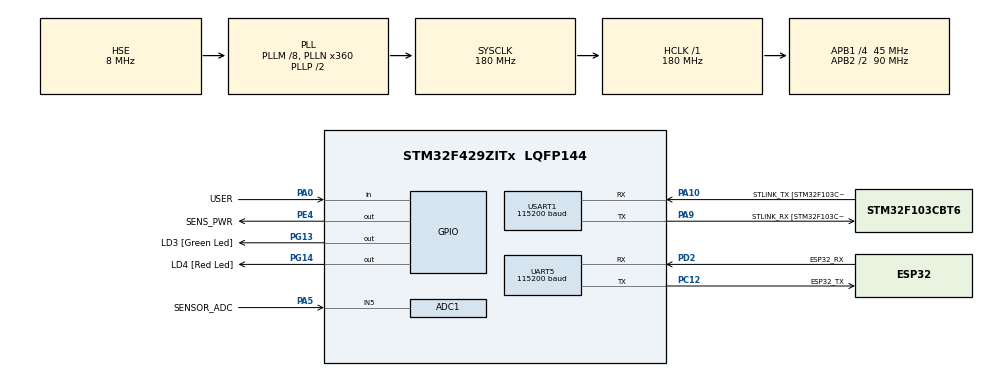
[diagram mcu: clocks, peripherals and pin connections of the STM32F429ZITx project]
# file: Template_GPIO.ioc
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ADC1.Channel-0\#ChannelRegularConversion=ADC_CHANNEL_5
ADC1.ClockPrescaler=ADC_CLOCK_SYNC_PCLK_DIV4
ADC1.NbrOfConversionFlag=1
ADC1.Rank-0\#ChannelRegularConversion=1
ADC1.SamplingTime-0\#ChannelRegularConversion=ADC_SAMPLETIME_84CYCLES
ADC1.master=1
Mcu.Family=STM32F4
Mcu.Name=STM32F429ZITx
Mcu.Package=LQFP144
NVIC.PriorityGroup=NVIC_PRIORITYGROUP_4
NVIC.UART5_IRQn=true\:5\:0\:false\:false\:true\:true\:true\:true
NVIC.USART1_IRQn=true\:5\:0\:false\:false\:true\:true\:true\:true
PA0/WKUP.GPIO_Label=USER
PA0/WKUP.Signal=GPIO_Input
PA10.GPIO_Label=STLINK_TX [STM32F103CBT6_PA2]
PA10.Mode=Asynchronous
PA10.Signal=USART1_RX
PA10.GPIO_PuPd=GPIO_PULLUP
PA13.GPIO_Label=SWDIO
PA13.Mode=Serial_Wire
PA13.Signal=SYS_JTMS-SWDIO
PA14.GPIO_Label=SWCLK
PA14.Mode=Serial_Wire
PA14.Signal=SYS_JTCK-SWCLK
PA5.GPIO_Label=SENSOR_ADC
PA5.Signal=ADCx_IN5
PA9.GPIO_Label=STLINK_RX [STM32F103CBT6_PA3]
PA9.Mode=Asynchronous
PA9.Signal=USART1_TX
PA9.GPIO_PuPd=GPIO_PULLUP
PC12.GPIO_Label=ESP32_TX
PC12.GPIO_PuPd=GPIO_PULLUP
PC12.Mode=Asynchronous
PC12.Signal=UART5_TX
PD2.GPIO_Label=ESP32_RX
PD2.GPIO_PuPd=GPIO_PULLUP
PD2.Mode=Asynchronous
PD2.Signal=UART5_RX
PE4.GPIO_Label=SENS_PWR
PE4.Signal=GPIO_Output
PG13.GPIO_Label=LD3 [Green Led]
PG13.Signal=GPIO_Output
PG14.GPIO_Label=LD4 [Red Led]
PG14.GPIO_Mode=GPIO_MODE_OUTPUT_PP
PG14.GPIO_PuPd=GPIO_NOPULL
PG14.GPIO_Speed=GPIO_SPEED_FREQ_LOW
PG14.Signal=GPIO_Output
PH0/OSC_IN.GPIO_Label=PH0-OSC_IN
PH0/OSC_IN.Mode=HSE-External-Oscillator
PH0/OSC_IN.Signal=RCC_OSC_IN
PH1/OSC_OUT.GPIO_Label=PH1-OSC_OUT
PH1/OSC_OUT.Mode=HSE-External-Oscillator
PH1/OSC_OUT.Signal=RCC_OSC_OUT
ProjectManager.HeapSize=0x200
ProjectManager.StackSize=0x1000
ProjectManager.TargetToolchain=MDK-ARM V5.32
RCC.48MHZClocksFreq_Value=51428571.428571429
RCC.AHBFreq_Value=180000000
RCC.APB1CLKDivider=RCC_HCLK_DIV4
RCC.APB1Freq_Value=45000000
RCC.APB1TimFreq_Value=90000000
RCC.APB2CLKDivider=RCC_HCLK_DIV2
RCC.APB2Freq_Value=90000000
RCC.APB2TimFreq_Value=180000000
RCC.CortexFreq_Value=180000000
RCC.HCLKFreq_Value=180000000
RCC.HSE_VALUE=8000000
RCC.HSI_VALUE=16000000
RCC.LSE_VALUE=32768
RCC.PLLM=8
RCC.PLLN=360
RCC.PLLP=RCC_PLLP_DIV2
RCC.PLLQ=7
RCC.PLLSourceVirtual=RCC_PLLSOURCE_HSE
RCC.SYSCLKFreq_VALUE=180000000
RCC.SYSCLKSource=RCC_SYSCLKSOURCE_PLLCLK
RCC.VCOOutputFreq_Value=360000000
SH.ADCx_IN5.0=ADC1_IN5,IN5
UART5.BaudRate=115200
UART5.VirtualMode=VM_ASYNC
USART1.BaudRate=115200
USART1.VirtualMode=VM_ASYNC
board=STM32F429I-DISC1

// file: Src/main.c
/* USER CODE BEGIN Header */
/**
  ******************************************************************************
  * @file           : main.c
  * @brief          : Main program body
  ******************************************************************************
  * Smart Bottle pe șablonul de laborator Template_GPIO (STM32F429I-DISC1).
  *
  * Generat de CubeMX din Template_GPIO.ioc: ceas 180 MHz, GPIO, USART1, ADC1, UART5.
  * Codul nostru stă doar între marcajele USER CODE: mesajul de pornire, app_init() o dată și
  * app_loop() la nesfârșit (app.c). La o regenerare din CubeMX rămâne neschimbat.
  ******************************************************************************
  */
/* USER CODE END Header */
#include "main.h"

/* USER CODE BEGIN Includes */
#include "app.h"
#include <stdarg.h>
#include <stdio.h>
/* USER CODE END Includes */

ADC_HandleTypeDef hadc1;

UART_HandleTypeDef huart5;
UART_HandleTypeDef huart1;

void SystemClock_Config(void);
static void MX_GPIO_Init(void);
static void MX_USART1_UART_Init(void);
static void MX_ADC1_Init(void);
static void MX_UART5_Init(void);

int main(void)
{

  /* MCU Configuration--------------------------------------------------------*/

  /* Reset of all peripherals, Initializes the Flash interface and the Systick. */
  HAL_Init();

  /* Configure the system clock */
  SystemClock_Config();

  /* Initialize all configured peripherals */
  MX_GPIO_Init();
  MX_USART1_UART_Init();
  MX_ADC1_Init();
  MX_UART5_Init();
  /* USER CODE BEGIN 2 */
  dbg_log("\r\n[boot] Smart Bottle (Template_GPIO), %lu MHz\r\n", (unsigned long)(SystemCoreClock / 1000000U));
  app_init();
  /* USER CODE END 2 */

  /* Infinite loop */
  while (1)
  {

    /* USER CODE BEGIN 3 */
    app_loop();
  }
  /* USER CODE END 3 */
}

void SystemClock_Config(void)
{
  RCC_OscInitTypeDef RCC_OscInitStruct = {0};
  RCC_ClkInitTypeDef RCC_ClkInitStruct = {0};

  /** Configure the main internal regulator output voltage
  */
  __HAL_RCC_PWR_CLK_ENABLE();
  __HAL_PWR_VOLTAGESCALING_CONFIG(PWR_REGULATOR_VOLTAGE_SCALE1);

  /** Initializes the RCC Oscillators according to the specified parameters
  * in the RCC_OscInitTypeDef structure.
  */
  RCC_OscInitStruct.OscillatorType = RCC_OSCILLATORTYPE_HSE;
  RCC_OscInitStruct.HSEState = RCC_HSE_ON;
  RCC_OscInitStruct.PLL.PLLState = RCC_PLL_ON;
  RCC_OscInitStruct.PLL.PLLSource = RCC_PLLSOURCE_HSE;
  RCC_OscInitStruct.PLL.PLLM = 8;
  RCC_OscInitStruct.PLL.PLLN = 360;
  RCC_OscInitStruct.PLL.PLLP = RCC_PLLP_DIV2;
  RCC_OscInitStruct.PLL.PLLQ = 7;
  if (HAL_RCC_OscConfig(&RCC_OscInitStruct) != HAL_OK)
  {
    Error_Handler();
  }

  /** Activate the Over-Drive mode
  */
  if (HAL_PWREx_EnableOverDrive() != HAL_OK)
  {
    Error_Handler();
  }

  /** Initializes the CPU, AHB and APB buses clocks
  */
  RCC_ClkInitStruct.ClockType = RCC_CLOCKTYPE_HCLK|RCC_CLOCKTYPE_SYSCLK
                              |RCC_CLOCKTYPE_PCLK1|RCC_CLOCKTYPE_PCLK2;
  RCC_ClkInitStruct.SYSCLKSource = RCC_SYSCLKSOURCE_PLLCLK;
  RCC_ClkInitStruct.AHBCLKDivider = RCC_SYSCLK_DIV1;
  RCC_ClkInitStruct.APB1CLKDivider = RCC_HCLK_DIV4;
  RCC_ClkInitStruct.APB2CLKDivider = RCC_HCLK_DIV2;

  if (HAL_RCC_ClockConfig(&RCC_ClkInitStruct, FLASH_LATENCY_5) != HAL_OK)
  {
    Error_Handler();
  }
}

static void MX_ADC1_Init(void)
{

  ADC_ChannelConfTypeDef sConfig = {0};

  /** Configure the global features of the ADC (Clock, Resolution, Data Alignment and number of conversion)
  */
  hadc1.Instance = ADC1;
  hadc1.Init.ClockPrescaler = ADC_CLOCK_SYNC_PCLK_DIV4;
  hadc1.Init.Resolution = ADC_RESOLUTION_12B;
  hadc1.Init.ScanConvMode = DISABLE;
  hadc1.Init.ContinuousConvMode = DISABLE;
  hadc1.Init.DiscontinuousConvMode = DISABLE;
  hadc1.Init.ExternalTrigConvEdge = ADC_EXTERNALTRIGCONVEDGE_NONE;
  hadc1.Init.ExternalTrigConv = ADC_SOFTWARE_START;
  hadc1.Init.DataAlign = ADC_DATAALIGN_RIGHT;
  hadc1.Init.NbrOfConversion = 1;
  hadc1.Init.DMAContinuousRequests = DISABLE;
  hadc1.Init.EOCSelection = ADC_EOC_SINGLE_CONV;
  if (HAL_ADC_Init(&hadc1) != HAL_OK)
  {
    Error_Handler();
  }

  /** Configure for the selected ADC regular channel its corresponding rank in the sequencer and its sample time.
  */
  sConfig.Channel = ADC_CHANNEL_5;
  sConfig.Rank = 1;
  sConfig.SamplingTime = ADC_SAMPLETIME_84CYCLES;
  if (HAL_ADC_ConfigChannel(&hadc1, &sConfig) != HAL_OK)
  {
    Error_Handler();
  }

}

static void MX_UART5_Init(void)
{

  huart5.Instance = UART5;
  huart5.Init.BaudRate = 115200;
  huart5.Init.WordLength = UART_WORDLENGTH_8B;
  huart5.Init.StopBits = UART_STOPBITS_1;
  huart5.Init.Parity = UART_PARITY_NONE;
  huart5.Init.Mode = UART_MODE_TX_RX;
  huart5.Init.HwFlowCtl = UART_HWCONTROL_NONE;
  huart5.Init.OverSampling = UART_OVERSAMPLING_16;
  if (HAL_UART_Init(&huart5) != HAL_OK)
  {
    Error_Handler();
  }

}

static void MX_USART1_UART_Init(void)
{

  huart1.Instance = USART1;
  huart1.Init.BaudRate = 115200;
  huart1.Init.WordLength = UART_WORDLENGTH_8B;
  huart1.Init.StopBits = UART_STOPBITS_1;
  huart1.Init.Parity = UART_PARITY_NONE;
  huart1.Init.Mode = UART_MODE_TX_RX;
  huart1.Init.HwFlowCtl = UART_HWCONTROL_NONE;
  huart1.Init.OverSampling = UART_OVERSAMPLING_16;
  if (HAL_UART_Init(&huart1) != HAL_OK)
  {
    Error_Handler();
  }

}

static void MX_GPIO_Init(void)
{
  GPIO_InitTypeDef GPIO_InitStruct = {0};

  /* GPIO Ports Clock Enable */
  __HAL_RCC_GPIOE_CLK_ENABLE();
  __HAL_RCC_GPIOC_CLK_ENABLE();
  __HAL_RCC_GPIOH_CLK_ENABLE();
  __HAL_RCC_GPIOA_CLK_ENABLE();
  __HAL_RCC_GPIOD_CLK_ENABLE();
  __HAL_RCC_GPIOG_CLK_ENABLE();

  /*Configure GPIO pin Output Level */
  HAL_GPIO_WritePin(SENS_PWR_GPIO_Port, SENS_PWR_Pin, GPIO_PIN_RESET);

  /*Configure GPIO pin Output Level */
  HAL_GPIO_WritePin(GPIOG, LD3_Pin|LD4_Pin, GPIO_PIN_RESET);

  /*Configure GPIO pin : SENS_PWR_Pin */
  GPIO_InitStruct.Pin = SENS_PWR_Pin;
  GPIO_InitStruct.Mode = GPIO_MODE_OUTPUT_PP;
  GPIO_InitStruct.Pull = GPIO_NOPULL;
  GPIO_InitStruct.Speed = GPIO_SPEED_FREQ_LOW;
  HAL_GPIO_Init(SENS_PWR_GPIO_Port, &GPIO_InitStruct);

  /*Configure GPIO pin : USER_Pin */
  GPIO_InitStruct.Pin = USER_Pin;
  GPIO_InitStruct.Mode = GPIO_MODE_INPUT;
  GPIO_InitStruct.Pull = GPIO_NOPULL;
  HAL_GPIO_Init(USER_GPIO_Port, &GPIO_InitStruct);

  /*Configure GPIO pins : LD3_Pin LD4_Pin */
  GPIO_InitStruct.Pin = LD3_Pin|LD4_Pin;
  GPIO_InitStruct.Mode = GPIO_MODE_OUTPUT_PP;
  GPIO_InitStruct.Pull = GPIO_NOPULL;
  GPIO_InitStruct.Speed = GPIO_SPEED_FREQ_LOW;
  HAL_GPIO_Init(GPIOG, &GPIO_InitStruct);

}

/* USER CODE BEGIN 4 */

/* Jurnal pe portul serial USB (USART1): ca printf, maxim 127 de caractere, așteaptă cel mult 20 ms. */
void dbg_log(const char *fmt, ...)
{
  char buf[128];
  va_list ap;
  va_start(ap, fmt);
  int n = vsnprintf(buf, sizeof buf, fmt, ap);
  va_end(ap);
  if (n > (int)sizeof buf - 1) n = (int)sizeof buf - 1;     /* mesaj trunchiat */
  if (n > 0) HAL_UART_Transmit(&huart1, (uint8_t *)buf, (uint16_t)n, 20);
}

/* USER CODE END 4 */

void Error_Handler(void)
{
  /* USER CODE BEGIN Error_Handler_Debug */
  /* Eroare fatală (ex. cristalul nu pornește): LED-ul roșu LD4 clipește la nesfârșit. */
  __disable_irq();
  while (1)
  {
    HAL_GPIO_TogglePin(LD4_GPIO_Port, LD4_Pin);
    for (volatile uint32_t i = 0; i < 2000000; i++) { }
  }
  /* USER CODE END Error_Handler_Debug */
}

#ifdef  USE_FULL_ASSERT
/**
  * @brief  Reports the name of the source file and the source line number
  *         where the assert_param error has occurred.
  * @param  file: pointer to the source file name
  * @param  line: assert_param error line source number
  * @retval None
  */
void assert_failed(uint8_t *file, uint32_t line)
{
  /* USER CODE BEGIN 6 */
  Error_Handler();
  /* USER CODE END 6 */
}
#endif /* USE_FULL_ASSERT */
